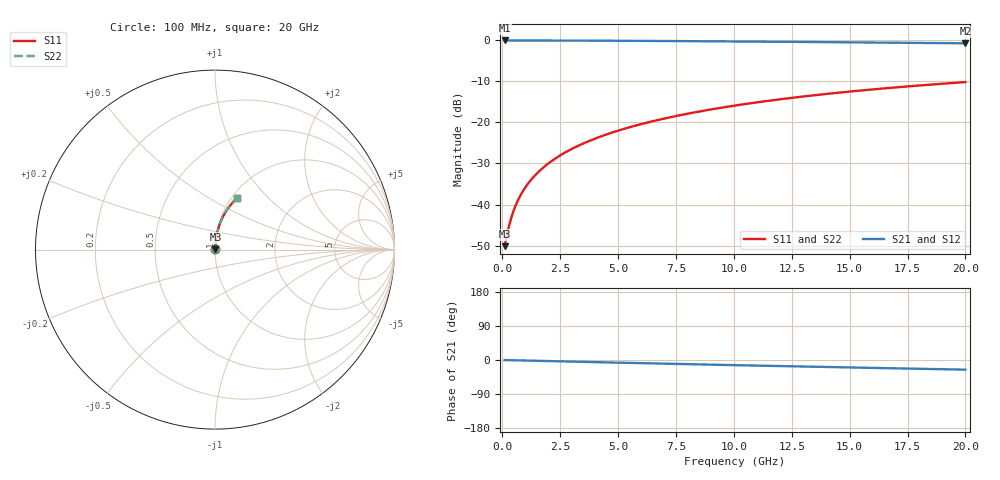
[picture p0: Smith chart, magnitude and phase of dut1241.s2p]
! Touchstone file exported from HFSS 2024.1.0
!  File:  C:/UserFiles/LocalFiles/RDL_TSV_Batchsim/temp_RDL_top_1241_1780241031.aedt
!  Generated:  11:26:25 PM May 31, 2026
!  Design:  RDL_top
!  Project:  temp_RDL_top_1241_1780241031
!  Setup:  Setup1
!  Solution:  Sweep
! Variables:
!  dtsv = 10.80580581um
!  hbump = 3um
!  htsv = 59.25um
!  ldown = 100um
!  lrdl = 299.97um
!  p = 40
!  p1 = 47.24um
!  rhole = 1um
!  t = 450um
!  tdown = 3.915915916um
!  trdl = 3.11um
!  wdown = 15.38538539um
!  wrdl = 13.86um
# GHz S MA R 50.000000
! Terminal data exported
! Port[1] = Box2_T1
! Port[2] = Box2_T2
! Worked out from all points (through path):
!   200 points, 100 MHz to 20 GHz, reference 50 ohm
!   highest |S21| = -0.02 dB at 100 MHz (marker M1); lowest = -0.7 dB at 20 GHz (marker M2)
!   group delay of S21, straight-line fit = 3.53 ps
!   lowest |S11| = -50.2 dB at 100 MHz (marker M3), VSWR 1.01, Z = 50.3 + j0.166 ohm
!   |S11| at or under -10 dB: start of sweep to end of sweep
!   |S22| runs from -50.2 to -10.2 dB; largest |S21 - S12| = 3e-15
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0.1  0.003106 32.1  0.9974 -0.1  0.9974 -0.1  0.003106 32.1
! Gamma 0 0 0 0
! Port Impedance 50 0 50 0
0.2  0.004238 50.8  0.9973 -0.3  0.9973 -0.3  0.004238 50.8
0.3  0.005617 60.8  0.9973 -0.4  0.9973 -0.4  0.005617 60.8
0.4  0.007085 66.6  0.9972 -0.6  0.9972 -0.6  0.007085 66.6
0.5  0.008587 70.4  0.9971 -0.7  0.9971 -0.7  0.008587 70.4
0.6  0.0101 73.0  0.997 -0.9  0.997 -0.9  0.0101 73.0
0.8  0.01316 76.4  0.9968 -1.2  0.9968 -1.2  0.01316 76.4
1.1  0.01777 79.3  0.9966 -1.6  0.9966 -1.6  0.01777 79.3
1.5  0.02397 81.4  0.9961 -2.1  0.9961 -2.1  0.02397 81.4
1.8  0.02865 82.3  0.9958 -2.6  0.9958 -2.6  0.02865 82.3
2.1  0.03335 82.8  0.9954 -3.0  0.9954 -3.0  0.03335 82.8
2.7  0.04279 83.4  0.9944 -3.8  0.9944 -3.8  0.04279 83.4
3.5  0.05546 83.6  0.9927 -4.9  0.9927 -4.9  0.05546 83.6
4.2  0.06661 83.5  0.991 -5.9  0.991 -5.9  0.06661 83.5
5  0.07941 83.1  0.9888 -7.0  0.9888 -7.0  0.07941 83.1
5.9  0.09387 82.5  0.986 -8.2  0.986 -8.2  0.09387 82.5
6.8  0.1084 81.7  0.9829 -9.4  0.9829 -9.4  0.1084 81.7
8.3  0.1325 80.3  0.9772 -11.4  0.9772 -11.4  0.1325 80.3
10.1  0.1614 78.4  0.9697 -13.7  0.9697 -13.7  0.1614 78.4
13.4  0.2133 74.6  0.9546 -17.8  0.9546 -17.8  0.2133 74.6
16.7  0.263 70.7  0.9381 -21.7  0.9381 -21.7  0.263 70.7
20  0.31 66.9  0.9205 -25.5  0.9205 -25.5  0.31 66.9
